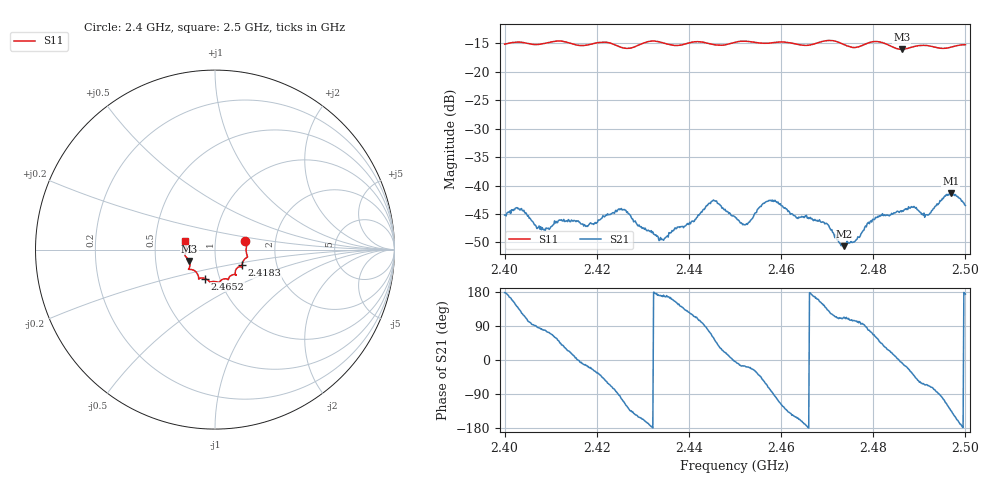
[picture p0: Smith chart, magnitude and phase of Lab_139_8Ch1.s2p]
# Hz S RI R 50
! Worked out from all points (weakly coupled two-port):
!   601 points, 2.4 GHz to 2.5 GHz, reference 50 ohm
!   highest |S21| = -41.36 dB at 2.4968 GHz (marker M1); lowest = -50.7 dB at 2.4737 GHz (marker M2)
!   lowest |S11| = -16.1 dB at 2.4862 GHz (marker M3), VSWR 1.37, Z = 37.2 - j4.88 ohm
!   |S11| at or under -10 dB: start of sweep to end of sweep
!   S12 and S22 are empty: the file has one direction only
!   S11 on the Smith chart (normalised r, x): 2.4 GHz: 1.40, +0.14; 2.4183 GHz: 1.33, -0.24; 2.4652 GHz: 0.85, -0.28; 2.5 GHz: 0.71, +0.07
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2.4e9  0.168 0.0471  -0.0055 0.00021  0 0  0 0
2.403167e9  0.1793 0.0317  -0.00428 0.00447  0 0  0 0
2.4085e9  0.1755 -0.0209  0.000807 0.004  0 0  0 0
2.412333e9  0.1809 -0.042  0.00384 0.00322  0 0  0 0
2.416667e9  0.1552 -0.0682  0.00455 -0.000494  0 0  0 0
2.418333e9  0.1499 -0.0866  0.00428 -0.00155  0 0  0 0
2.425667e9  0.1289 -0.098  -0.00188 -0.00586  0 0  0 0
2.433333e9  0.1172 -0.1416  -0.00347 0.000478  0 0  0 0
2.440833e9  0.0746 -0.1662  -0.00233 0.00428  0 0  0 0
2.445333e9  0.0599 -0.1625  0.00386 0.00639  0 0  0 0
2.45e9  0.0259 -0.1797  0.00529 -0.00035  0 0  0 0
2.4525e9  0.0197 -0.1839  0.00439 -0.00143  0 0  0 0
2.457667e9  -0.0141 -0.1781  0.00141 -0.00722  0 0  0 0
2.465167e9  -0.0545 -0.1614  -0.00528 -0.00101  0 0  0 0
2.466667e9  -0.0709 -0.1579  -0.00509 0.000666  0 0  0 0
2.469833e9  -0.091 -0.164  -0.00339 0.00319  0 0  0 0
2.473667e9  -0.0934 -0.1457  -0.00115 0.0027  0 0  0 0
2.483333e9  -0.1414 -0.0966  0.00492 0.00237  0 0  0 0
2.486167e9  -0.1434 -0.0641  0.00584 -0.000673  0 0  0 0
2.491667e9  -0.167 -0.0298  0.00231 -0.00503  0 0  0 0
2.496833e9  -0.1621 0.0244  -0.00588 -0.00621  0 0  0 0
2.5e9  -0.1661 0.0473  -0.00664 0.000692  0 0  0 0
